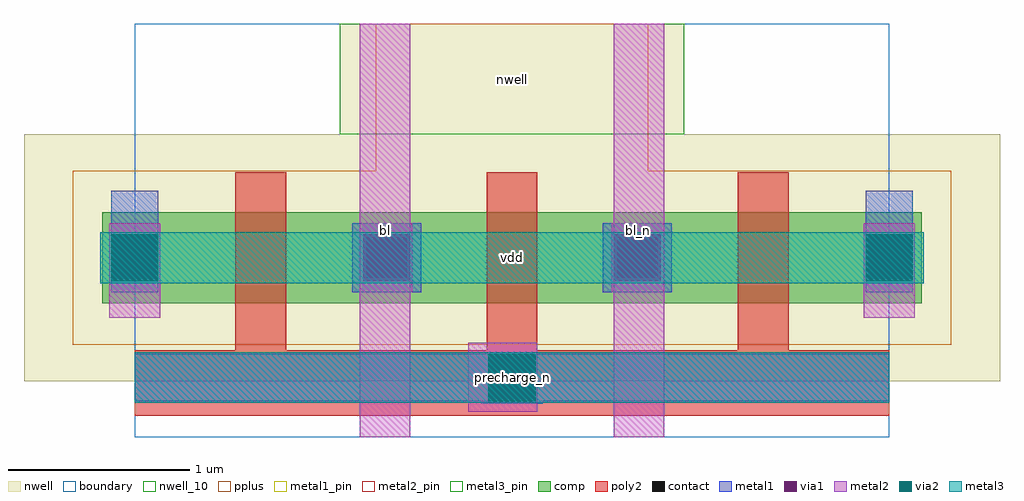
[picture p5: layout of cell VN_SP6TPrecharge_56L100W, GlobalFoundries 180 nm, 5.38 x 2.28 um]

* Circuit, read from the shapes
.subckt VN_SP6TPrecharge_56L100W bl bl_n nwell precharge_n vdd
XM1 bl precharge_n vdd nwell pfet_03v3 w=0.5u l=0.28u
XM2 bl_n precharge_n bl nwell pfet_03v3 w=0.5u l=0.28u
XM3 vdd precharge_n bl_n nwell pfet_03v3 w=0.5u l=0.28u
.ends

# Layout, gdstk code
import gdstk
lib = gdstk.Library(unit=1e-6, precision=1e-09)
def R(c, l, rs):  # rectangles x0, y0, x1, y1
    for r in rs: c.add(gdstk.rectangle(r[:2], r[2:], *l))
def P(c, l, *ps):  # polygons
    for p in ps: c.add(gdstk.Polygon(p, *l))
boundary = (0, 0)
nwell = (21, 0)
nwell_10 = (21, 10)
comp = (22, 0)
poly2 = (30, 0)
pplus = (31, 0)
contact = (33, 0)
metal1 = (34, 0)
metal1_pin = (34, 10)
via1 = (35, 0)
metal2 = (36, 0)
metal2_pin = (36, 10)
via2 = (38, 0)
metal3 = (42, 0)
metal3_pin = (42, 10)

vn_sp6tprecharge_56l100w = lib.new_cell('VN_SP6TPrecharge_56L100W')
R(vn_sp6tprecharge_56l100w, boundary, [(0,0,4.16,2.28)])
P(vn_sp6tprecharge_56l100w, nwell, [(-0.61,0.31),(-0.61,1.67),(1.13,1.67),(1.13,2.28),(3.03,2.28),(3.03,1.67),(4.77,1.67),(4.77,0.31)])
R(vn_sp6tprecharge_56l100w, nwell_10, [(1.13,1.67,3.03,2.28)])
R(vn_sp6tprecharge_56l100w, comp, [(-0.18,0.74,4.34,1.24)])
P(vn_sp6tprecharge_56l100w, poly2, [(0,0.12),(0,0.48),(0.555,0.48),(0.555,1.46),(0.835,1.46),(0.835,0.48),(1.94,0.48),(1.94,1.46),(2.22,1.46),(2.22,0.48),(3.325,0.48),(3.325,1.46),(3.605,1.46),(3.605,0.48),(4.16,0.48),(4.16,0.12)])
P(vn_sp6tprecharge_56l100w, pplus, [(-0.34,0.51),(-0.34,1.47),(1.33,1.47),(1.33,2.28),(2.83,2.28),(2.83,1.47),(4.5,1.47),(4.5,0.51)])
R(vn_sp6tprecharge_56l100w, contact, [(1.97,0.19,2.19,0.41), (-0.11,0.88,0.11,1.1), (1.28,0.88,1.5,1.1), (2.66,0.88,2.88,1.1), (4.05,0.88,4.27,1.1)])
R(vn_sp6tprecharge_56l100w, metal1, [(-0.13,0.8,0.13,1.36), (1.2,0.8,1.58,1.18), (2.58,0.8,2.96,1.18), (4.03,0.8,4.29,1.36)])
P(vn_sp6tprecharge_56l100w, metal1, [(1.91,0.185),(1.91,0.2),(0,0.2),(0,0.46),(4.16,0.46),(4.16,0.2),(2.25,0.2),(2.25,0.185)])
R(vn_sp6tprecharge_56l100w, metal1_pin, [(0,0.2,4.16,0.46)])
R(vn_sp6tprecharge_56l100w, via1, [(1.95,0.2,2.21,0.46), (-0.13,0.86,0.13,1.12), (1.26,0.86,1.52,1.12), (2.64,0.86,2.9,1.12), (4.03,0.86,4.29,1.12)])
R(vn_sp6tprecharge_56l100w, metal2, [(1.84,0.14,2.22,0.52), (-0.14,0.66,0.14,1.18), (4.02,0.66,4.3,1.18)])
P(vn_sp6tprecharge_56l100w, metal2, [(2.64,0),(2.64,0.8),(2.63,0.8),(2.63,1.18),(2.64,1.18),(2.64,2.28),(2.92,2.28),(2.92,0)],
  [(1.24,0),(1.24,2.28),(1.52,2.28),(1.52,1.18),(1.53,1.18),(1.53,0.8),(1.52,0.8),(1.52,0)])
R(vn_sp6tprecharge_56l100w, metal2_pin, [(1.24,0,1.52,2.28), (2.64,0,2.92,2.28)])
R(vn_sp6tprecharge_56l100w, via2, [(1.95,0.2,2.21,0.46), (-0.13,0.86,0.13,1.12), (4.03,0.86,4.29,1.12)])
R(vn_sp6tprecharge_56l100w, metal3, [(0,0.19,4.16,0.47), (-0.19,0.85,4.35,1.13)])
R(vn_sp6tprecharge_56l100w, metal3_pin, [(0,0.19,4.16,0.47), (-0.19,0.85,4.35,1.13)])
vn_sp6tprecharge_56l100w.add(gdstk.Label('precharge_n', (2.08,0.33), layer=34, texttype=10))
vn_sp6tprecharge_56l100w.add(gdstk.Label('nwell', (2.08,1.975), layer=21, texttype=10))
vn_sp6tprecharge_56l100w.add(gdstk.Label('vdd', (2.08,0.99), layer=42, texttype=10))
vn_sp6tprecharge_56l100w.add(gdstk.Label('precharge_n', (2.08,0.33), layer=42, texttype=10))
vn_sp6tprecharge_56l100w.add(gdstk.Label('bl_n', (2.78,1.14), layer=36, texttype=10))
vn_sp6tprecharge_56l100w.add(gdstk.Label('bl', (1.38,1.14), layer=36, texttype=10))

lib.write_gds('VN_SP6TPrecharge_56L100W.gds')
